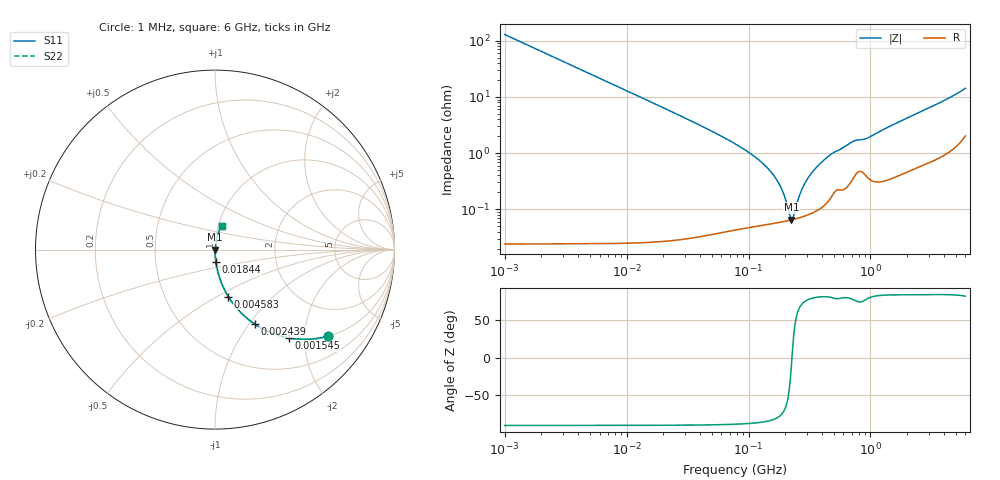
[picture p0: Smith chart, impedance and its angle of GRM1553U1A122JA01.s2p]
!Murata Part Number: GRM1553U1A122JA01
!These Parameters are Measured in Series Mode Connection
!Data Generated on Mar 30, 2021
!  o--ll--o
!Port1  Port2
!  o------o
!Operation Temp=25[degC], DC Bias Voltage=0[V]
!Freq. Start=1000[kHz] Stop=6[GHz] 401[Steps]
# Hz S RI R 50
!Freq.(Hz) S11(Real) S11(Imag) S21(Real) S21(Imag) S12(Real) S12(Imag) S22(Real) S22(Imag)
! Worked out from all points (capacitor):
!   401 points, 1 MHz to 6 GHz, reference 50 ohm
!   read as one part in series: C = 1.23 nF near 1.044 MHz
!   lowest |Z| = 65.6 mohm at 224.9 MHz (marker M1)
!   series resonance near 227 MHz, so ESL is about 400 pH
!   S11 on the Smith chart (normalised r, x): 1 MHz: 1.00, -2.59; 1.545 MHz: 1.00, -1.68; 2.439 MHz: 1.00, -1.06; 4.583 MHz: 1.00, -0.57; 18.44 MHz: 1.00, -0.14; 6 GHz: 1.04, +0.28
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1000000  0.6268 -0.4836  0.3732 0.4836  0.3732 0.4836  0.6268 -0.4836
1544926  0.4131 -0.4922  0.5869 0.4922  0.5869 0.4922  0.4131 -0.4922
2439274  0.2202 -0.4142  0.7798 0.4142  0.7798 0.4142  0.2202 -0.4142
4293785  0.0836 -0.2764  0.9164 0.2764  0.9164 0.2764  0.0836 -0.2764
4583281  0.0742 -0.2616  0.9258 0.2616  0.9258 0.2616  0.0742 -0.2616
8801117  0.0214 -0.1438  0.9786 0.1438  0.9786 0.1438  0.0214 -0.1438
1.843659e7  0.0051 -0.0694  0.9949 0.0694  0.9949 0.0694  0.0051 -0.0694
7.745967e7  0.000641 -0.0147  0.9994 0.0147  0.9994 0.0147  0.000641 -0.0147
1.196694e8  0.000561 -0.00774  0.9994 0.00774  0.9994 0.00774  0.000561 -0.00774
1.587717e8  0.000572 -0.00413  0.9994 0.00413  0.9994 0.00413  0.000572 -0.00413
1.889453e8  0.0006 -0.00209  0.9994 0.00209  0.9994 0.00209  0.0006 -0.00209
2.152823e8  0.000633 -0.0006  0.9994 0.0006  0.9994 0.0006  0.000633 -0.0006
2.248532e8  0.000646 -0.000107  0.9994 0.000107  0.9994 0.000107  0.000646 -0.000107
2.348496e8  0.000662 0.000386  0.9993 -0.000386  0.9993 -0.000386  0.000662 0.000386
2.618284e8  0.000709 0.00163  0.9993 -0.00163  0.9993 -0.00163  0.000709 0.00163
2.794814e8  0.000744 0.00238  0.9993 -0.00238  0.9993 -0.00238  0.000744 0.00238
3.325952e8  0.000874 0.00447  0.9991 -0.00447  0.9991 -0.00447  0.000874 0.00447
4.919634e8  0.00192 0.00986  0.9981 -0.00986  0.9981 -0.00986  0.00192 0.00986
7.120397e8  0.00361 0.0155  0.9964 -0.0155  0.9964 -0.0155  0.00361 0.0155
9.243762e8  0.00417 0.0176  0.9958 -0.0176  0.9958 -0.0176  0.00417 0.0176
1.428092e9  0.00425 0.0294  0.9958 -0.0294  0.9958 -0.0294  0.00425 0.0294
6e9  0.0381 0.1327  0.9619 -0.1327  0.9619 -0.1327  0.0381 0.1327
